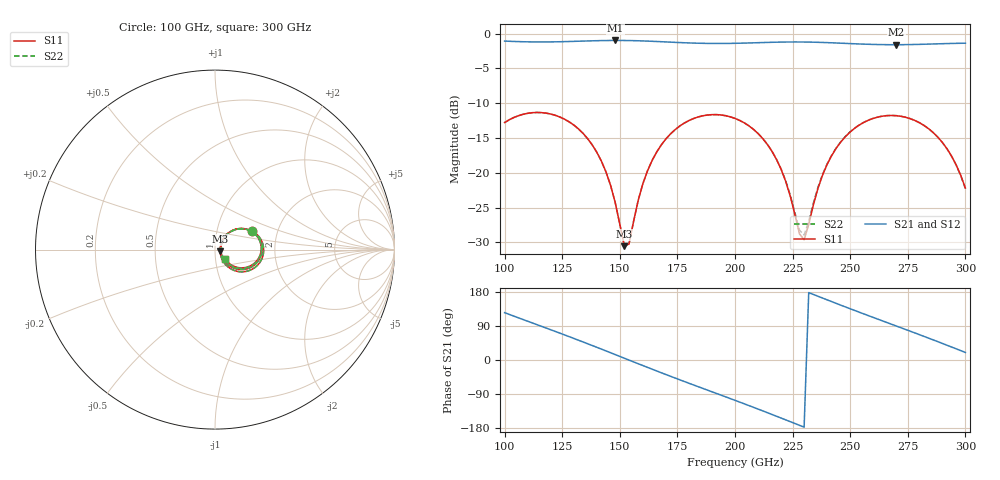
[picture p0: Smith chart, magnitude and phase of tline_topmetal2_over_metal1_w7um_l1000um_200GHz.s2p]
#  GHZ S DB R 50
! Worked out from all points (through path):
!   101 points, 100 GHz to 300 GHz, reference 50 ohm
!   highest |S21| = -0.98 dB at 148 GHz (marker M1); lowest = -1.6 dB at 270 GHz (marker M2)
!   group delay of S21, straight-line fit = 6.47 ps
!   lowest |S11| = -30.5 dB at 152 GHz (marker M3), VSWR 1.06, Z = 52.9 - j0.98 ohm
!   |S11| at or under -10 dB: start of sweep to end of sweep
!   |S22| runs from -30.5 to -11.3 dB; largest |S21 - S12| = 0
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100  -12.78 27.5  -1.07 124.9  -1.07 124.9  -12.78 27.4
118  -11.43 -8.6  -1.20 84.4  -1.20 84.4  -11.43 -8.7
134  -14.32 -40.2  -1.07 47.7  -1.07 47.7  -14.33 -40.2
142  -18.31 -53.0  -1.01 28.8  -1.01 28.8  -18.32 -53.0
148  -24.26 -52.6  -0.98 14.3  -0.98 14.3  -24.27 -52.6
152  -30.55 -18.2  -0.99 4.7  -0.99 4.7  -30.53 -18.0
154  -30.23 20.8  -1.00 -0.2  -1.00 -0.2  -30.19 20.8
162  -19.74 52.6  -1.08 -19.4  -1.08 -19.4  -19.73 52.5
168  -16.00 44.9  -1.16 -33.6  -1.16 -33.6  -16.00 44.9
184  -11.98 14.9  -1.38 -70.4  -1.38 -70.4  -11.98 14.9
200  -12.18 -16.6  -1.39 -106.5  -1.39 -106.5  -12.18 -16.4
216  -16.89 -45.2  -1.25 -143.6  -1.25 -143.6  -16.87 -44.5
222  -21.23 -49.7  -1.21 -158.0  -1.21 -158.0  -21.15 -48.4
230  -29.63 10.0  -1.21 -177.3  -1.21 -177.3  -28.95 9.3
234  -24.62 47.7  -1.23 173.1  -1.23 173.1  -24.38 45.3
240  -18.79 51.5  -1.29 158.7  -1.29 158.7  -18.71 50.0
248  -14.78 40.3  -1.41 139.9  -1.41 139.9  -14.75 39.2
258  -12.43 21.9  -1.54 116.9  -1.54 116.9  -12.42 21.0
268  -11.77 2.6  -1.59 94.2  -1.59 94.2  -11.76 1.8
270  -11.80 -1.3  -1.59 89.7  -1.59 89.7  -11.79 -2.1
288  -14.87 -34.4  -1.47 48.4  -1.47 48.4  -14.87 -35.4
300  -22.19 -42.5  -1.38 19.9  -1.38 19.9  -22.29 -44.3
